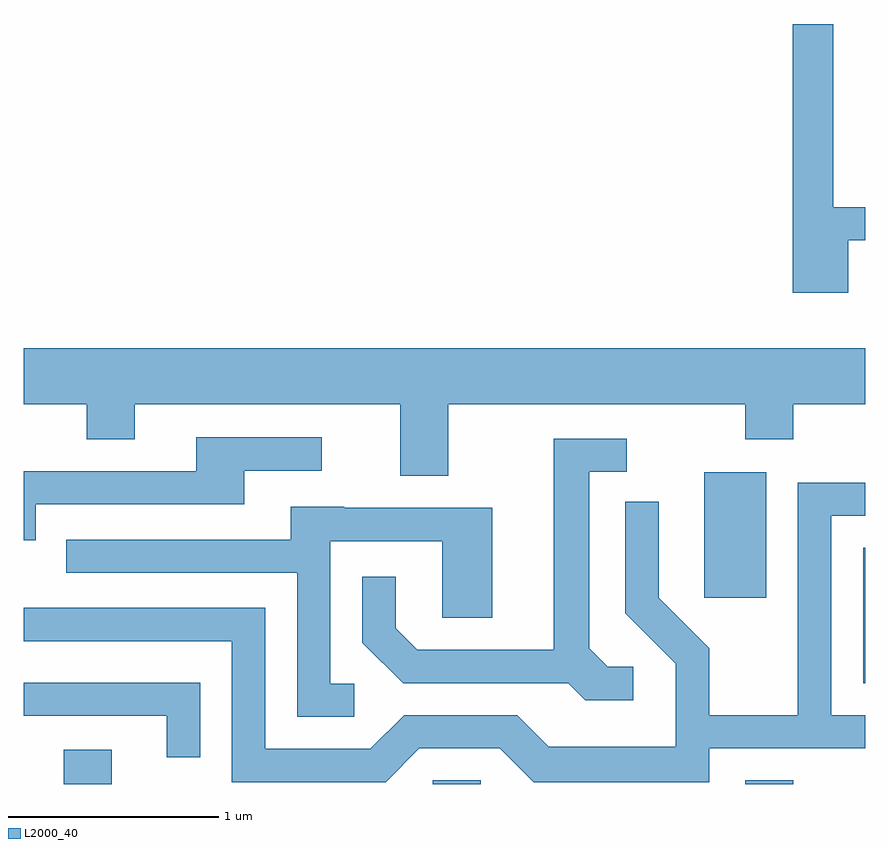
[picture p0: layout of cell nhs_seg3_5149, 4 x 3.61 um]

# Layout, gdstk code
import gdstk
lib = gdstk.Library(unit=1e-6, precision=1e-09)
def R(c, l, rs):  # rectangles x0, y0, x1, y1
    for r in rs: c.add(gdstk.rectangle(r[:2], r[2:], *l))
def P(c, l, *ps):  # polygons
    for p in ps: c.add(gdstk.Polygon(p, *l))
L2000_40 = (2000, 40)

nhs_seg3_5149 = lib.new_cell('nhs_seg3_5149')
R(nhs_seg3_5149, L2000_40, [(335.801,1221.892,336.029,1222.054), (337.556,1221.892,337.784,1221.909), (339.041,1221.892,339.269,1221.909), (339.601,1222.371,339.611,1223.014), (338.846,1222.776,339.139,1223.374)])
P(nhs_seg3_5149, L2000_40, [(339.529,1224.476),(339.611,1224.476),(339.611,1224.634),(339.459,1224.634),(339.459,1225.504),(339.266,1225.504),(339.266,1224.226),(339.529,1224.226)],
  [(337.629,1223.696),(339.041,1223.696),(339.041,1223.531),(339.269,1223.531),(339.269,1223.696),(339.611,1223.696),(339.611,1223.964),(335.611,1223.964),(335.611,1223.696),(335.911,1223.696),(335.911,1223.531),(336.139,1223.531),(336.139,1223.696),(337.401,1223.696),(337.401,1223.356),(337.629,1223.356)],
  [(335.669,1223.221),(336.659,1223.221),(336.659,1223.381),(337.028,1223.381),(337.028,1223.539),(336.431,1223.539),(336.431,1223.379),(335.611,1223.379),(335.611,1223.051),(335.669,1223.051)],
  [(338.508,1222.449),(338.387,1222.449),(338.299,1222.537),(338.299,1223.376),(338.478,1223.376),(338.478,1223.534),(338.131,1223.534),(338.131,1222.529),(337.482,1222.529),(337.379,1222.632),(337.379,1222.878),(337.221,1222.878),(337.221,1222.564),(337.414,1222.371),(338.199,1222.371),(338.279,1222.291),(338.508,1222.291)],
  [(337.492,1222.061),(337.874,1222.061),(338.034,1221.901),(338.869,1221.901),(338.869,1222.061),(339.611,1222.061),(339.611,1222.219),(339.449,1222.219),(339.449,1223.166),(339.611,1223.166),(339.611,1223.324),(339.291,1223.324),(339.291,1222.219),(338.869,1222.219),(338.869,1222.537),(338.629,1222.777),(338.629,1223.233),(338.471,1223.233),(338.471,1222.704),(338.711,1222.464),(338.711,1222.069),(338.107,1222.069),(337.957,1222.219),(337.419,1222.219),(337.259,1222.059),(336.759,1222.059),(336.759,1222.729),(335.611,1222.729),(335.611,1222.571),(336.601,1222.571),(336.601,1221.901),(337.332,1221.901)],
  [(337.183,1222.369),(337.069,1222.369),(337.069,1223.046),(337.601,1223.046),(337.601,1222.681),(337.839,1222.681),(337.839,1223.204),(337.135,1223.204),(337.135,1223.209),(336.881,1223.209),(336.881,1223.054),(335.813,1223.054),(335.813,1222.896),(336.911,1222.896),(336.911,1222.211),(337.183,1222.211)],
  [(336.449,1222.374),(335.611,1222.374),(335.611,1222.216),(336.291,1222.216),(336.291,1222.018),(336.449,1222.018)])

lib.write_gds('nhs_seg3_5149.gds')
